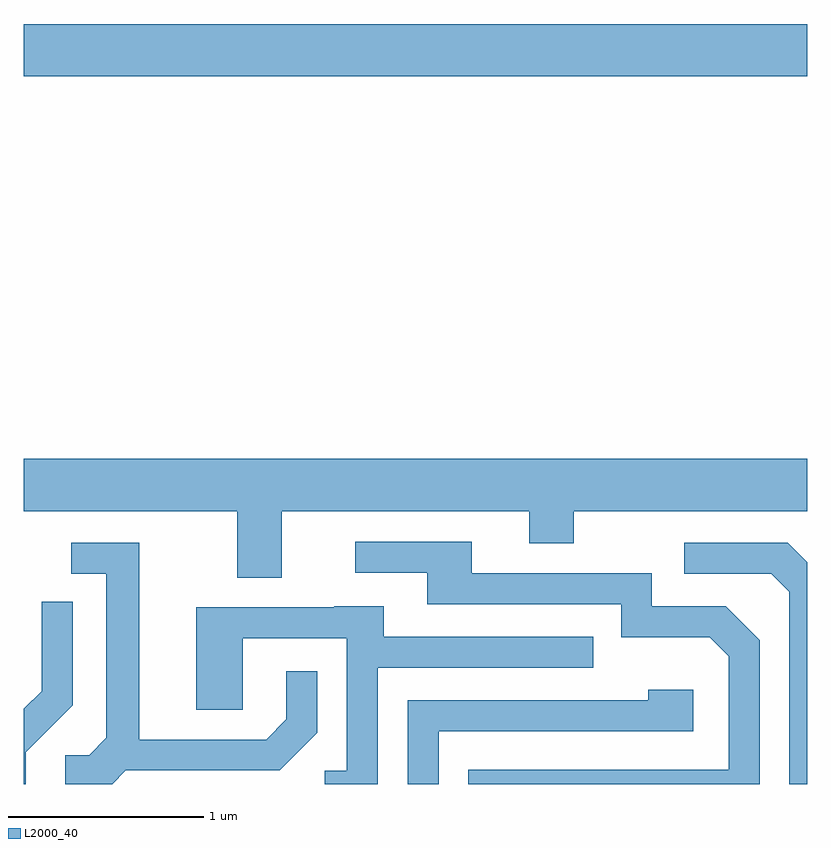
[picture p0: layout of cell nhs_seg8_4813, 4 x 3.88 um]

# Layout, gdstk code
import gdstk
lib = gdstk.Library(unit=1e-6, precision=1e-09)
def R(c, l, rs):  # rectangles x0, y0, x1, y1
    for r in rs: c.add(gdstk.rectangle(r[:2], r[2:], *l))
def P(c, l, *ps):  # polygons
    for p in ps: c.add(gdstk.Polygon(p, *l))
L2000_40 = (2000, 40)

nhs_seg8_4813 = lib.new_cell('nhs_seg8_4813')
R(nhs_seg8_4813, L2000_40, [(329.611,1851.956,333.611,1852.224)])
P(nhs_seg8_4813, L2000_40, [(330.929,1849.736),(332.191,1849.736),(332.191,1849.571),(332.419,1849.571),(332.419,1849.736),(333.611,1849.736),(333.611,1850.004),(329.611,1850.004),(329.611,1849.736),(330.701,1849.736),(330.701,1849.396),(330.929,1849.396)],
  [(333.369,1849.077),(333.197,1849.249),(332.819,1849.249),(332.819,1849.419),(331.899,1849.419),(331.899,1849.579),(331.303,1849.579),(331.303,1849.421),(331.671,1849.421),(331.671,1849.261),(332.661,1849.261),(332.661,1849.091),(333.114,1849.091),(333.211,1848.994),(333.211,1848.414),(331.881,1848.414),(331.881,1848.342),(333.369,1848.342)],
  [(330.132,1848.411),(330.917,1848.411),(331.109,1848.604),(331.109,1848.918),(330.951,1848.918),(330.951,1848.672),(330.849,1848.569),(330.199,1848.569),(330.199,1849.574),(329.853,1849.574),(329.853,1849.416),(330.031,1849.416),(330.031,1848.577),(329.944,1848.489),(329.823,1848.489),(329.823,1848.342),(330.063,1848.342)],
  [(333.611,1849.475),(333.512,1849.574),(332.983,1849.574),(332.983,1849.416),(333.429,1849.416),(333.521,1849.324),(333.521,1848.342),(333.611,1848.342)],
  [(329.619,1848.504),(329.859,1848.744),(329.859,1849.273),(329.701,1849.273),(329.701,1848.817),(329.611,1848.727),(329.611,1848.342),(329.619,1848.342)],
  [(331.419,1848.936),(332.518,1848.936),(332.518,1849.094),(331.449,1849.094),(331.449,1849.249),(331.195,1849.249),(331.195,1849.244),(330.491,1849.244),(330.491,1848.721),(330.729,1848.721),(330.729,1849.086),(331.261,1849.086),(331.261,1848.409),(331.148,1848.409),(331.148,1848.342),(331.419,1848.342)],
  [(331.729,1848.611),(333.029,1848.611),(333.029,1848.824),(332.801,1848.824),(332.801,1848.769),(331.571,1848.769),(331.571,1848.342),(331.729,1848.342)])

lib.write_gds('nhs_seg8_4813.gds')
